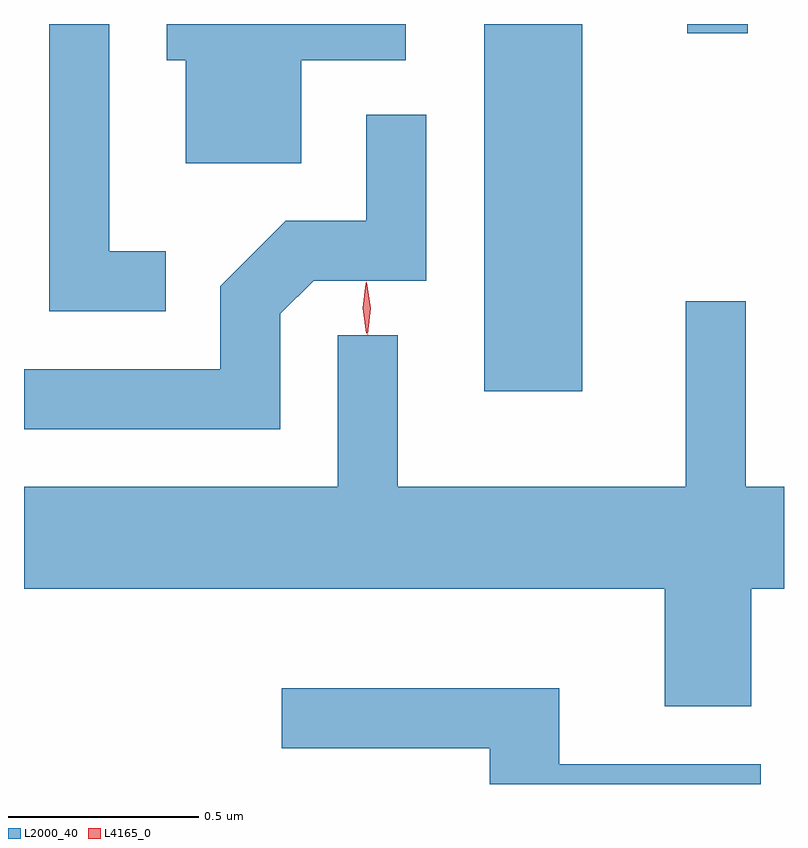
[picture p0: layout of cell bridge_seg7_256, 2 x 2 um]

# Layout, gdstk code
import gdstk
lib = gdstk.Library(unit=1e-6, precision=1e-09)
def R(c, l, rs):  # rectangles x0, y0, x1, y1
    for r in rs: c.add(gdstk.rectangle(r[:2], r[2:], *l))
def P(c, l, *ps):  # polygons
    for p in ps: c.add(gdstk.Polygon(p, *l))
L2000_40 = (2000, 40)
L4165_0 = (4165, 0)

bridge_seg7_256 = lib.new_cell('bridge_seg7_256')
R(bridge_seg7_256, L2000_40, [(1795.566,1708.176,1795.824,1709.142), (1796.101,1709.118,1796.259,1709.142)])
P(bridge_seg7_256, L2000_40, [(1794.728,1708.544),(1794.579,1708.544),(1794.579,1709.142),(1794.421,1709.142),(1794.421,1708.386),(1794.728,1708.386)],
  [(1795.084,1709.046),(1795.359,1709.046),(1795.359,1709.142),(1794.731,1709.142),(1794.731,1709.046),(1794.781,1709.046),(1794.781,1708.776),(1795.084,1708.776)],
  [(1795.029,1708.379),(1795.117,1708.466),(1795.414,1708.466),(1795.414,1708.903),(1795.256,1708.903),(1795.256,1708.624),(1795.044,1708.624),(1794.871,1708.452),(1794.871,1708.234),(1794.355,1708.234),(1794.355,1708.076),(1795.029,1708.076)],
  [(1796.269,1707.656),(1796.355,1707.656),(1796.355,1707.924),(1796.254,1707.924),(1796.254,1708.413),(1796.096,1708.413),(1796.096,1707.924),(1795.339,1707.924),(1795.339,1708.323),(1795.181,1708.323),(1795.181,1707.924),(1794.355,1707.924),(1794.355,1707.656),(1796.041,1707.656),(1796.041,1707.346),(1796.269,1707.346)],
  [(1796.294,1707.194),(1795.764,1707.194),(1795.764,1707.394),(1795.033,1707.394),(1795.033,1707.236),(1795.581,1707.236),(1795.581,1707.142),(1796.294,1707.142)])
P(bridge_seg7_256, L4165_0, [(1795.256,1708.328),(1795.246,1708.394),(1795.254,1708.46),(1795.255,1708.461),(1795.255,1708.46),(1795.266,1708.394),(1795.257,1708.328),(1795.257,1708.328)],
  [(1795.259,1708.324),(1795.259,1708.325),(1795.248,1708.394),(1795.256,1708.463),(1795.257,1708.463),(1795.257,1708.463),(1795.268,1708.394),(1795.26,1708.325)])

lib.write_gds('bridge_seg7_256.gds')
